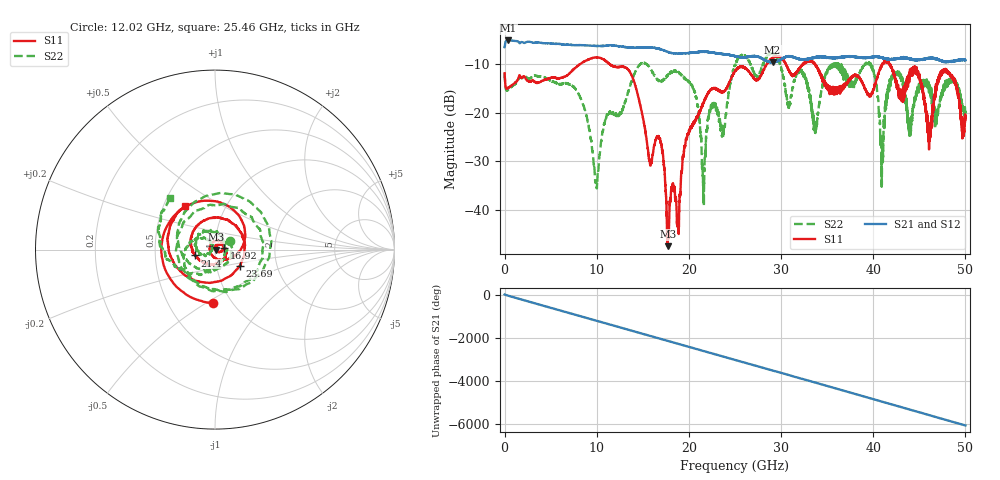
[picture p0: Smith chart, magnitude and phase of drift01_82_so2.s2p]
!Created with skrf (http://scikit-rf.org).
# Hz S RI R 50.0
!freq ReS11 ImS11 ReS21 ImS21 ReS12 ImS12 ReS22 ImS22
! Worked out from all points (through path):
!   10001 points, 300 kHz to 50 GHz, reference 50 ohm
!   highest |S21| = -5.05 dB at 400.3 MHz (marker M1); lowest = -9.6 dB at 29.08 GHz (marker M2)
!   group delay of S21, straight-line fit = 336 ps
!   lowest |S11| = -47.6 dB at 17.7 GHz (marker M3), VSWR 1.01, Z = 50.4 - j0.107 ohm
!   |S11| at or under -10 dB: start of sweep to 8.153 GHz; 11.43 GHz to 28.42 GHz (16.99 GHz wide, 85.3 % of centre); 41.86 GHz to end of sweep (the widest 3 of 15)
!   |S22| runs from -39.3 to -7.6 dB; largest |S21 - S12| = 0.016
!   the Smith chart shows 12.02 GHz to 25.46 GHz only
!   S11 on the Smith chart (normalised r, x): 12.02 GHz: 0.82, -0.54; 16.92 GHz: 1.10, +0.02; 21.4 GHz: 0.80, -0.05; 23.69 GHz: 1.30, -0.24; 25.46 GHz: 0.64, +0.34
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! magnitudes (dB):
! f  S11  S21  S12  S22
! 300 kHz  -11.8  -6.5  -6.5  -11.8
! 400.3 MHz  -14.8  -5.1  -5.1  -15.2
! 8.335 GHz  -9.8  -6.0  -6.0  -17.5
! 9.95 GHz  -8.5  -6.2  -6.2  -34.7
! 12.02 GHz  -10.5  -6.1  -6.1  -20.5
! 16.67 GHz  -24.8  -6.7  -6.7  -13.3
! 16.92 GHz  -25.9  -6.9  -6.9  -13.4
! 17.7 GHz  -47.6  -7.4  -7.4  -12.3
! 20.46 GHz  -22.4  -7.5  -7.6  -14.8
! 21.4 GHz  -18.7  -7.4  -7.4  -30.2
! 22.49 GHz  -15.0  -7.5  -7.5  -18.7
! 23.69 GHz  -15.6  -7.9  -7.9  -23.8
! 25 GHz  -11.4  -8.3  -8.3  -10.1
! 25.46 GHz  -10.6  -8.5  -8.5  -8.4
! 29.08 GHz  -8.6  -9.6  -9.5  -7.7
! 33.34 GHz  -9.5  -8.7  -8.7  -19.0
! 39.48 GHz  -16.2  -8.6  -8.6  -9.9
! 40.98 GHz  -9.9  -8.7  -8.6  -29.0
! 41.67 GHz  -9.5  -8.8  -9.0  -15.0
! 46.11 GHz  -22.4  -8.7  -8.8  -15.2
! 48.04 GHz  -11.6  -9.4  -9.4  -14.1
! 50 GHz  -20.7  -9.1  -9.1  -20.4
